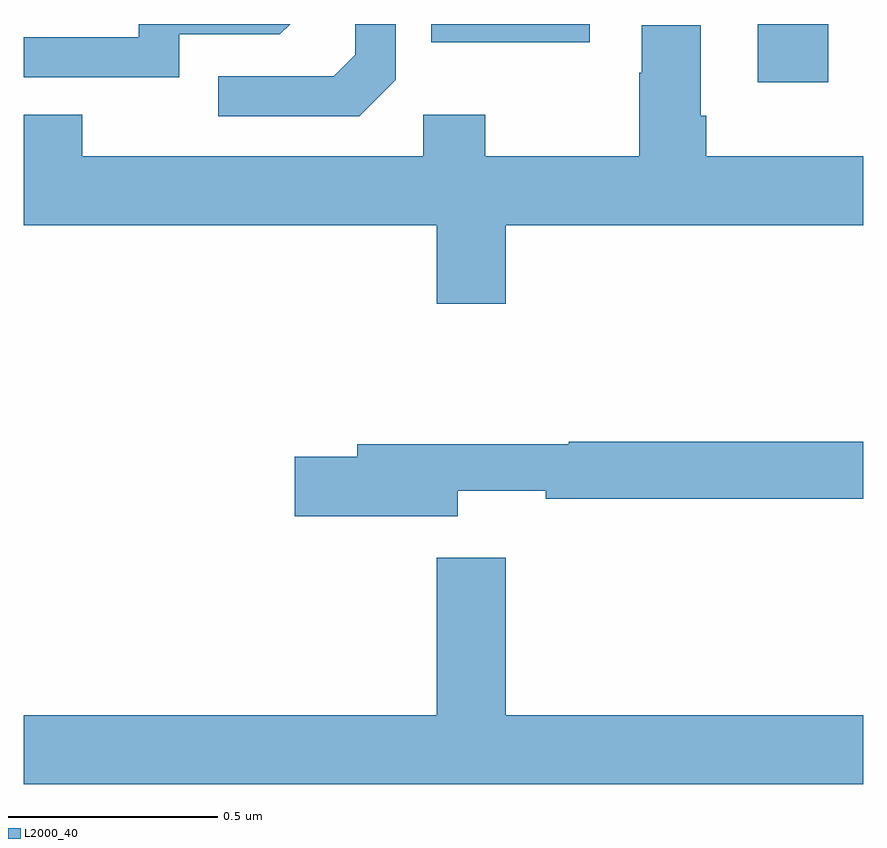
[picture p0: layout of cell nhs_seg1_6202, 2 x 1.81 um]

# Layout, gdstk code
import gdstk
lib = gdstk.Library(unit=1e-6, precision=1e-09)
def R(c, l, rs):  # rectangles x0, y0, x1, y1
    for r in rs: c.add(gdstk.rectangle(r[:2], r[2:], *l))
def P(c, l, *ps):  # polygons
    for p in ps: c.add(gdstk.Polygon(p, *l))
L2000_40 = (2000, 40)

nhs_seg1_6202 = lib.new_cell('nhs_seg1_6202')
R(nhs_seg1_6202, L2000_40, [(189.749,564.06,189.917,564.199), (188.971,564.155,189.349,564.199)])
P(nhs_seg1_6202, L2000_40, [(188.37,564.174),(188.61,564.174),(188.635,564.199),(188.274,564.199),(188.274,564.168),(188,564.168),(188,564.072),(188.37,564.072)],
  [(188.886,564.066),(188.886,564.199),(188.79,564.199),(188.79,564.126),(188.739,564.075),(188.463,564.075),(188.463,563.979),(188.799,563.979)],
  [(189.148,563.72),(190,563.72),(190,563.884),(189.626,563.884),(189.626,563.98),(189.613,563.98),(189.613,564.196),(189.473,564.196),(189.473,564.083),(189.466,564.083),(189.466,563.884),(189.099,563.884),(189.099,563.983),(188.952,563.983),(188.952,563.884),(188.139,563.884),(188.139,563.983),(188,563.983),(188,563.72),(188.984,563.72),(188.984,563.532),(189.148,563.532)],
  [(189.034,563.087),(189.244,563.087),(189.244,563.068),(190,563.068),(190,563.204),(189.299,563.204),(189.299,563.197),(188.795,563.197),(188.795,563.168),(188.646,563.168),(188.646,563.026),(189.034,563.026)],
  [(190,562.552),(189.148,562.552),(189.148,562.927),(188.984,562.927),(188.984,562.552),(188,562.552),(188,562.388),(190,562.388)])

lib.write_gds('nhs_seg1_6202.gds')
